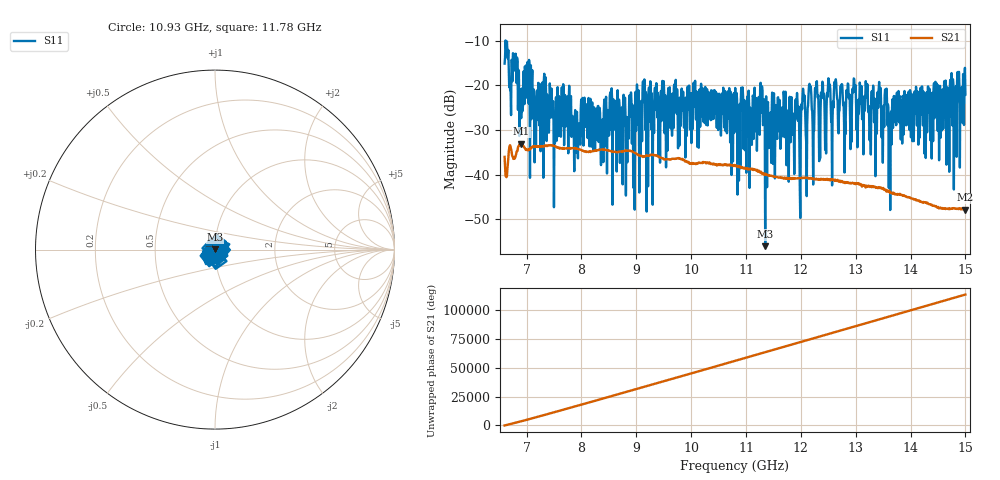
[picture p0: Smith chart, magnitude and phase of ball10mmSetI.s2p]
!Keysight Technologies,N5235B,MY61252044,A.15.00.15
!Date: Friday, January 20, 2023 21:14:19
!Correction: S11(Off)
!S21(Off)
!S12(Off)
!S22(Off)
!S2P File: Measurements: S11, S21, S12, S22:
# Hz S  RI  R 50
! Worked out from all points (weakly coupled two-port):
!   1000 points, 6.6 GHz to 15 GHz, reference 50 ohm
!   highest |S21| = -33.05 dB at 6.903 GHz (marker M1); lowest = -47.9 dB at 14.99 GHz (marker M2)
!   lowest |S11| = -56.1 dB at 11.35 GHz (marker M3), VSWR 1.00, Z = 49.9 + j0.143 ohm
!   |S11| at or under -10 dB: start of sweep to 6.616585 GHz; 6.617 GHz to end of sweep
!   S12 and S22 are empty: the file has one direction only
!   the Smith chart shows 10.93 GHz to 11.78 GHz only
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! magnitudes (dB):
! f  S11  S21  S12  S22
! 6.6 GHz  -15.1  -36.0  -  -
! 6.701 GHz  -21.1  -33.4  -  -
! 6.793 GHz  -16.6  -36.2  -  -
! 6.903 GHz  -27.3  -33.0  -  -
! 7.012 GHz  -21.9  -34.5  -  -
! 7.155 GHz  -25.8  -33.6  -  -
! 8.004 GHz  -28.2  -34.6  -  -
! 9.4 GHz  -23.1  -35.9  -  -
! 10.8 GHz  -20.6  -38.1  -  -
! 11.3 GHz  -21.2  -39.8  -  -
! 11.35 GHz  -56.1  -39.8  -  -
! 11.93 GHz  -21.7  -40.8  -  -
! 11.98 GHz  -42.8  -40.7  -  -
! 12.17 GHz  -20.5  -40.8  -  -
! 12.2 GHz  -25.4  -40.8  -  -
! 12.97 GHz  -18.6  -41.9  -  -
! 13.55 GHz  -24.1  -43.7  -  -
! 13.6 GHz  -43.0  -43.8  -  -
! 13.74 GHz  -28.9  -44.5  -  -
! 14.8 GHz  -21.7  -47.5  -  -
! 14.99 GHz  -16.0  -47.9  -  -
! 15 GHz  -22.0  -47.7  -  -
